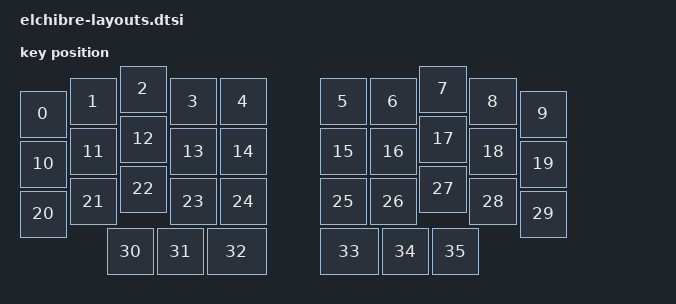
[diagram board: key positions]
#include <physical_layouts.dtsi>


/ {
    default_layout: default_layout {
        compatible = "zmk,physical-layout";
        display-name = "El Chibre 3thumb";
        transform = <&default_transform>;
        keys  //                     w   h    x    y     rot    rx    ry
            = <&key_physical_attrs 100 100    0   50       0     0     0>
            , <&key_physical_attrs 100 100  100   25       0     0     0>
            , <&key_physical_attrs 100 100  200    0       0     0     0>
            , <&key_physical_attrs 100 100  300   25       0     0     0>
            , <&key_physical_attrs 100 100  400   25       0     0     0>
            , <&key_physical_attrs 100 100  600   25       0     0     0>
            , <&key_physical_attrs 100 100  700   25       0     0     0>
            , <&key_physical_attrs 100 100  800    0       0     0     0>
            , <&key_physical_attrs 100 100  900   25       0     0     0>
            , <&key_physical_attrs 100 100 1000   50       0     0     0>
            , <&key_physical_attrs 100 100    0  150       0     0     0>
            , <&key_physical_attrs 100 100  100  125       0     0     0>
            , <&key_physical_attrs 100 100  200  100       0     0     0>
            , <&key_physical_attrs 100 100  300  125       0     0     0>
            , <&key_physical_attrs 100 100  400  125       0     0     0>
            , <&key_physical_attrs 100 100  600  125       0     0     0>
            , <&key_physical_attrs 100 100  700  125       0     0     0>
            , <&key_physical_attrs 100 100  800  100       0     0     0>
            , <&key_physical_attrs 100 100  900  125       0     0     0>
            , <&key_physical_attrs 100 100 1000  150       0     0     0>
            , <&key_physical_attrs 100 100    0  250       0     0     0>
            , <&key_physical_attrs 100 100  100  225       0     0     0>
            , <&key_physical_attrs 100 100  200  200       0     0     0>
            , <&key_physical_attrs 100 100  300  225       0     0     0>
            , <&key_physical_attrs 100 100  400  225       0     0     0>
            , <&key_physical_attrs 100 100  600  225       0     0     0>
            , <&key_physical_attrs 100 100  700  225       0     0     0>
            , <&key_physical_attrs 100 100  800  200       0     0     0>
            , <&key_physical_attrs 100 100  900  225       0     0     0>
            , <&key_physical_attrs 100 100 1000  250       0     0     0>
            , <&key_physical_attrs 100 100  175  325       0     0     0>
            , <&key_physical_attrs 100 100  275  325       0     0     0>
            , <&key_physical_attrs 125 100  375  325       0     0     0>
            , <&key_physical_attrs 125 100  600  325       0     0     0>
            , <&key_physical_attrs 100 100  725  325       0     0     0>
            , <&key_physical_attrs 100 100  825  325       0     0     0>
            ;
    };
};
